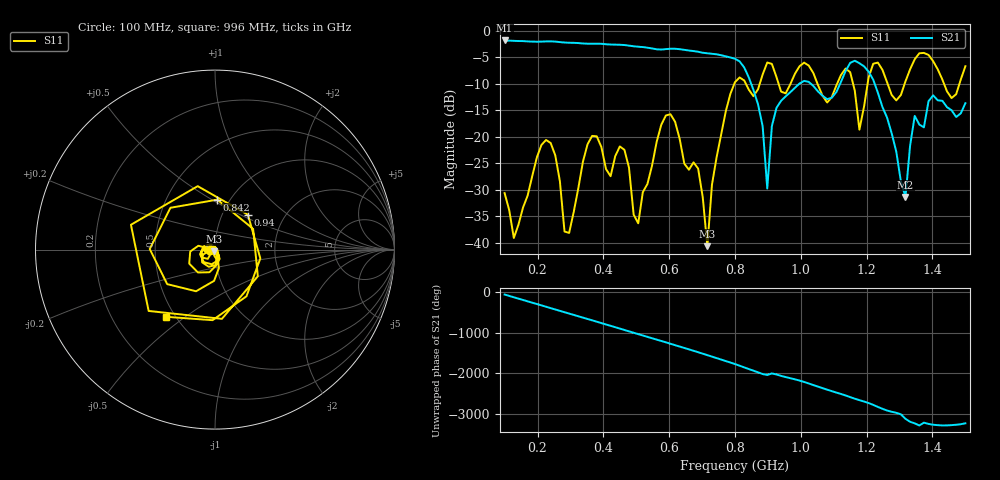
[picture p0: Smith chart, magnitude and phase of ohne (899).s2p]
! NanoVNA-App
! Date: 2025-09-25 14:27:48
! Start: 100MHz Stop: 1,5GHz Points: 101
! S-Parameter data: F S11 S21 S12 S22
# Hz S RI R 50
!  Frequency  S11_Real  S11_Imag  S21_Real  S21_Imag  S12_Real  S12_Imag  S22_Real  S22_Imag
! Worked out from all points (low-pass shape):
!   101 points, 100 MHz to 1.5 GHz, reference 50 ohm
!   highest |S21| = -1.79 dB at 100 MHz (marker M1); lowest = -31.4 dB at 1.318 GHz (marker M2)
!   |S21| within 3 dB of the highest: start of sweep to 771.7 MHz
!   lowest |S11| = -40.7 dB at 716 MHz (marker M3), VSWR 1.02, Z = 49.7 - j0.877 ohm
!   |S11| at or under -10 dB: start of sweep to 797.9 MHz; 833.2 MHz to 875.1 MHz (41.95 MHz wide, 4.91 % of centre); 1.051 GHz to 1.11 GHz (59.39 MHz wide, 5.5 % of centre)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
!   S12 and S22 are empty: the file has one direction only
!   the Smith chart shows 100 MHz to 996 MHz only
!   S11 on the Smith chart (normalised r, x): 100 MHz: 0.94, -0.01; 842 MHz: 0.88, +0.53; 940 MHz: 1.32, +0.55; 996 MHz: 0.44, -0.42
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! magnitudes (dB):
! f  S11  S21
! 100 MHz  -30.6  -1.8
! 128 MHz  -39.1  -1.9
! 226 MHz  -20.6  -2.0
! 296 MHz  -38.2  -2.2
! 338 MHz  -24.7  -2.4
! 464 MHz  -22.5  -2.7
! 506 MHz  -36.3  -3.0
! 576 MHz  -17.7  -3.5
! 688 MHz  -26.0  -3.9
! 716 MHz  -40.7  -4.2
! 800 MHz  -9.7  -5.3
! 842 MHz  -11.1  -8.8
! 898 MHz  -6.0  -29.8
! 940 MHz  -11.5  -13.2
! 996 MHz  -6.7  -9.9
! 1.038 GHz  -7.9  -10.4
! 1.178 GHz  -18.7  -6.1
! 1.22 GHz  -6.2  -9.2
! 1.276 GHz  -12.1  -19.3
! 1.318 GHz  -9.5  -31.4
! 1.346 GHz  -5.4  -16.1
! 1.5 GHz  -6.7  -13.6
